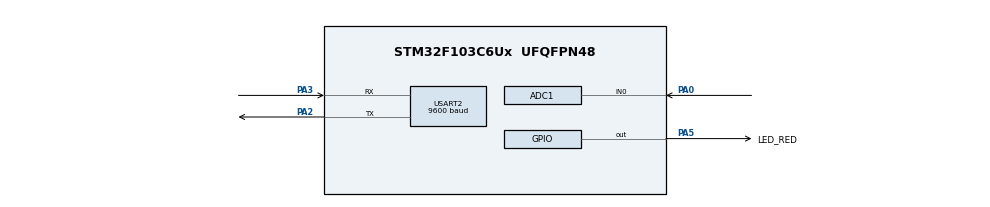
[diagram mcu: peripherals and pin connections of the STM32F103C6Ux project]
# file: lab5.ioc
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ADC1.Channel-1\#ChannelRegularConversion=ADC_CHANNEL_0
ADC1.ContinuousConvMode=ENABLE
ADC1.NbrOfConversionFlag=1
ADC1.Rank-1\#ChannelRegularConversion=1
ADC1.SamplingTime-1\#ChannelRegularConversion=ADC_SAMPLETIME_1CYCLE_5
ADC1.master=1
Mcu.Family=STM32F1
Mcu.Name=STM32F103C6Ux
Mcu.Package=UFQFPN48
NVIC.PriorityGroup=NVIC_PRIORITYGROUP_4
NVIC.USART2_IRQn=true\:0\:0\:false\:false\:true\:true\:true
PA0-WKUP.Signal=ADCx_IN0
PA2.Mode=Asynchronous
PA2.Signal=USART2_TX
PA3.Mode=Asynchronous
PA3.Signal=USART2_RX
PA5.GPIO_Label=LED_RED
PA5.Signal=GPIO_Output
ProjectManager.HeapSize=0x200
ProjectManager.StackSize=0x400
ProjectManager.TargetToolchain=STM32CubeIDE
RCC.APB1Freq_Value=8000000
RCC.APB2Freq_Value=8000000
SH.ADCx_IN0.0=ADC1_IN0,IN0
USART2.BaudRate=9600
USART2.VirtualMode=VM_ASYNC
VP_SYS_VS_ND.Mode=No_Debug
board=custom

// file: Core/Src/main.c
/* USER CODE BEGIN Header */
/**
  ******************************************************************************
  * @file           : main.c
  * @brief          : Main program body
  ******************************************************************************
  * @attention
  *
  * <h2><center>&copy; Copyright (c) 2024 STMicroelectronics.
  * All rights reserved.</center></h2>
  *
  * This software component is licensed by ST under BSD 3-Clause license,
  * the "License"; You may not use this file except in compliance with the
  * License. You may obtain a copy of the License at:
  *                        opensource.org/licenses/BSD-3-Clause
  *
  ******************************************************************************
  */
/* USER CODE END Header */
#include "main.h"
#include "stdio.h"
#include <string.h>

ADC_HandleTypeDef hadc1;

UART_HandleTypeDef huart2;

void SystemClock_Config(void);
static void MX_GPIO_Init(void);
static void MX_ADC1_Init(void);
static void MX_USART2_UART_Init(void);

/* USER CODE BEGIN 0 */

#define MAX_BUFFER_SIZE 30
uint8_t temp = 0;
uint8_t buffer [ MAX_BUFFER_SIZE ];
uint8_t index_buffer = 0;
uint8_t buffer_flag = 0;
uint8_t cmd_flag = 0;
uint8_t wait_flag = 0;
float ADC_value;
int last_rsp_t = 0;

void HAL_UART_RxCpltCallback( UART_HandleTypeDef * huart ){
	 if( huart -> Instance == USART2 ) {
		 buffer[index_buffer++] = temp;
		 if(index_buffer == 30 ) index_buffer = 0;
		 buffer_flag = 1;
		 HAL_UART_Receive_IT(&huart2 , &temp , 1) ;
		 HAL_UART_Transmit(& huart2 , & temp , 1 , 100) ;
	 }
}

void command_parser_fsm(){
if(strncmp((char*)buffer,"!RST#",5)==0){
	cmd_flag = 1;

	HAL_ADC_Start(&hadc1);
	HAL_ADC_PollForConversion(&hadc1, HAL_MAX_DELAY);
	ADC_value = HAL_ADC_GetValue(&hadc1);
	HAL_ADC_Stop(&hadc1);

	memset(buffer, 0, MAX_BUFFER_SIZE);
	index_buffer = 0;
	buffer_flag = 0;
}
else if(strncmp((char*)buffer,"!OK#",4)==0){
	const char* rsp = "end\n";
	HAL_UART_Transmit(&huart2, (uint8_t*)rsp,strlen(rsp) , 1000);
	cmd_flag = 0;

	memset(buffer, 0, MAX_BUFFER_SIZE);
	index_buffer = 0;
	buffer_flag = 0;
}
}

void uart_communication_fsm(){
	if(cmd_flag == 1){
		if(wait_flag == 1){
		char cmd_data[50];
		int PRINT = sprintf(cmd_data,"!ADC=%lu#",(uint32_t)ADC_value);
		HAL_UART_Transmit(&huart2, (uint8_t*)cmd_data, PRINT,1000);

		wait_flag = 0;
		}
	}
}

/* USER CODE END 0 */

int main(void)
{

  /* MCU Configuration--------------------------------------------------------*/

  /* Reset of all peripherals, Initializes the Flash interface and the Systick. */
  HAL_Init();

  /* Configure the system clock */
  SystemClock_Config();

  /* Initialize all configured peripherals */
  MX_GPIO_Init();
  MX_ADC1_Init();
  MX_USART2_UART_Init();
  /* USER CODE BEGIN 2 */
  HAL_UART_Receive_IT (& huart2 , & temp , 1) ;
  /* USER CODE END 2 */

  /* Infinite loop */
  /* USER CODE BEGIN WHILE */
  //uint32_t ADC_value = 0;

  while (1)
  {
		// HAL_GPIO_TogglePin ( LED_RED_GPIO_Port , LED_RED_Pin ) ;
		// ADC_value = HAL_ADC_GetValue (&hadc1 ) ;
		// HAL_UART_Transmit (& huart2 , ( void *)str , sprintf (str , "%d\n" , ADC_value) , 1000);

		 //HAL_Delay (500) ;
	  if(buffer_flag == 1){
		  command_parser_fsm();
		  buffer_flag = 0;
	  }
	  uart_communication_fsm();

	  if(HAL_GetTick()-last_rsp_t >= 3000){
		  wait_flag = 1;
		  last_rsp_t = HAL_GetTick();

			memset(buffer, 0, MAX_BUFFER_SIZE);
			index_buffer = 0;
			buffer_flag = 0;
			HAL_GPIO_TogglePin ( LED_RED_GPIO_Port , LED_RED_Pin ) ;
	  }
    /* USER CODE END WHILE */

  }
}

void SystemClock_Config(void)
{
  RCC_OscInitTypeDef RCC_OscInitStruct = {0};
  RCC_ClkInitTypeDef RCC_ClkInitStruct = {0};
  RCC_PeriphCLKInitTypeDef PeriphClkInit = {0};

  /** Initializes the RCC Oscillators according to the specified parameters
  * in the RCC_OscInitTypeDef structure.
  */
  RCC_OscInitStruct.OscillatorType = RCC_OSCILLATORTYPE_HSI;
  RCC_OscInitStruct.HSIState = RCC_HSI_ON;
  RCC_OscInitStruct.HSICalibrationValue = RCC_HSICALIBRATION_DEFAULT;
  RCC_OscInitStruct.PLL.PLLState = RCC_PLL_NONE;
  if (HAL_RCC_OscConfig(&RCC_OscInitStruct) != HAL_OK)
  {
    Error_Handler();
  }
  /** Initializes the CPU, AHB and APB buses clocks
  */
  RCC_ClkInitStruct.ClockType = RCC_CLOCKTYPE_HCLK|RCC_CLOCKTYPE_SYSCLK
                              |RCC_CLOCKTYPE_PCLK1|RCC_CLOCKTYPE_PCLK2;
  RCC_ClkInitStruct.SYSCLKSource = RCC_SYSCLKSOURCE_HSI;
  RCC_ClkInitStruct.AHBCLKDivider = RCC_SYSCLK_DIV1;
  RCC_ClkInitStruct.APB1CLKDivider = RCC_HCLK_DIV1;
  RCC_ClkInitStruct.APB2CLKDivider = RCC_HCLK_DIV1;

  if (HAL_RCC_ClockConfig(&RCC_ClkInitStruct, FLASH_LATENCY_0) != HAL_OK)
  {
    Error_Handler();
  }
  PeriphClkInit.PeriphClockSelection = RCC_PERIPHCLK_ADC;
  PeriphClkInit.AdcClockSelection = RCC_ADCPCLK2_DIV2;
  if (HAL_RCCEx_PeriphCLKConfig(&PeriphClkInit) != HAL_OK)
  {
    Error_Handler();
  }
}

static void MX_ADC1_Init(void)
{

  ADC_ChannelConfTypeDef sConfig = {0};

  /** Common config
  */
  hadc1.Instance = ADC1;
  hadc1.Init.ScanConvMode = ADC_SCAN_DISABLE;
  hadc1.Init.ContinuousConvMode = ENABLE;
  hadc1.Init.DiscontinuousConvMode = DISABLE;
  hadc1.Init.ExternalTrigConv = ADC_SOFTWARE_START;
  hadc1.Init.DataAlign = ADC_DATAALIGN_RIGHT;
  hadc1.Init.NbrOfConversion = 1;
  if (HAL_ADC_Init(&hadc1) != HAL_OK)
  {
    Error_Handler();
  }
  /** Configure Regular Channel
  */
  sConfig.Channel = ADC_CHANNEL_0;
  sConfig.Rank = ADC_REGULAR_RANK_1;
  sConfig.SamplingTime = ADC_SAMPLETIME_1CYCLE_5;
  if (HAL_ADC_ConfigChannel(&hadc1, &sConfig) != HAL_OK)
  {
    Error_Handler();
  }

}

static void MX_USART2_UART_Init(void)
{

  huart2.Instance = USART2;
  huart2.Init.BaudRate = 9600;
  huart2.Init.WordLength = UART_WORDLENGTH_8B;
  huart2.Init.StopBits = UART_STOPBITS_1;
  huart2.Init.Parity = UART_PARITY_NONE;
  huart2.Init.Mode = UART_MODE_TX_RX;
  huart2.Init.HwFlowCtl = UART_HWCONTROL_NONE;
  huart2.Init.OverSampling = UART_OVERSAMPLING_16;
  if (HAL_UART_Init(&huart2) != HAL_OK)
  {
    Error_Handler();
  }

}

static void MX_GPIO_Init(void)
{
  GPIO_InitTypeDef GPIO_InitStruct = {0};

  /* GPIO Ports Clock Enable */
  __HAL_RCC_GPIOA_CLK_ENABLE();

  /*Configure GPIO pin Output Level */
  HAL_GPIO_WritePin(LED_RED_GPIO_Port, LED_RED_Pin, GPIO_PIN_RESET);

  /*Configure GPIO pin : LED_RED_Pin */
  GPIO_InitStruct.Pin = LED_RED_Pin;
  GPIO_InitStruct.Mode = GPIO_MODE_OUTPUT_PP;
  GPIO_InitStruct.Pull = GPIO_NOPULL;
  GPIO_InitStruct.Speed = GPIO_SPEED_FREQ_LOW;
  HAL_GPIO_Init(LED_RED_GPIO_Port, &GPIO_InitStruct);

}

void Error_Handler(void)
{
  __disable_irq();
  while (1)
  {
  }
}

/************************ (C) COPYRIGHT STMicroelectronics *****END OF FILE****/
